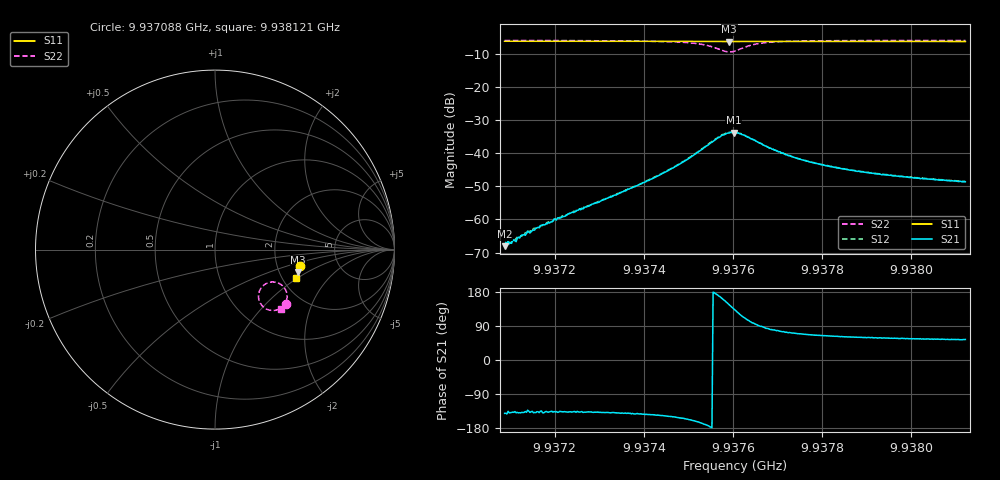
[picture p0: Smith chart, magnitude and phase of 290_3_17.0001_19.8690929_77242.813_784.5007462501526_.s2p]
#  HZ  S  RI  R  50.00
! Rohde & Schwarz Vector Network Analyzer
! Rohde-Schwarz,ZNB20-2Port,1311601062101988,3.16
! Created: UTC 3/20/2024, 11:05:04 PM
! freq[Hz]  re:S11  im:S11  re:S21  im:S21  re:S12  im:S12  re:S22  im:S22
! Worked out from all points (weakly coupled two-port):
!   401 points, 9.937088 GHz to 9.938121 GHz, reference 50 ohm
!   highest |S21| = -33.81 dB at 9.937602 GHz (marker M1); lowest = -68.1 dB at 9.937088 GHz (marker M2)
!   lowest |S11| = -6.4 dB at 9.937592 GHz (marker M3), VSWR 2.84, Z = 127 - j41.3 ohm
!   |S11| at or under -10 dB: nowhere
!   |S22| runs from -9.5 to -6.1 dB; largest |S21 - S12| = 0.00087
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9.937088e9  0.4752 -0.0934  -0.000306 -0.00025  -0.000312 -0.000259  0.3934 -0.3049
9.9371009e9  0.4749 -0.0942  -0.000336 -0.000289  -0.000343 -0.000272  0.3925 -0.3058
9.9371087e9  0.4749 -0.0948  -0.000366 -0.000328  -0.000364 -0.000312  0.3919 -0.3064
9.9371216e9  0.4746 -0.0956  -0.000397 -0.000345  -0.000387 -0.000355  0.3907 -0.3075
9.9371371e9  0.4744 -0.0968  -0.000458 -0.000413  -0.000454 -0.000415  0.3897 -0.3085
9.9371733e9  0.4739 -0.0992  -0.000628 -0.000538  -0.000601 -0.000541  0.3869 -0.3112
9.9372611e9  0.4721 -0.105  -0.00104 -0.00101  -0.00109 -0.000987  0.3784 -0.3186
9.9373695e9  0.4699 -0.1124  -0.00226 -0.00186  -0.00232 -0.0018  0.3628 -0.3288
9.9374341e9  0.4682 -0.1169  -0.00381 -0.00258  -0.00395 -0.0026  0.3461 -0.3358
9.9374858e9  0.467 -0.1204  -0.00642 -0.00318  -0.00659 -0.00314  0.3221 -0.3394
9.9375348e9  0.4653 -0.1236  -0.0118 -0.00217  -0.012 -0.00207  0.2785 -0.3265
9.937571e9  0.4636 -0.1254  -0.0171 0.00394  -0.0175 0.00463  0.2428 -0.2684
9.9375916e9  0.463 -0.1257  -0.0165 0.0114  -0.0166 0.0121  0.2586 -0.2113
9.937602e9  0.4631 -0.1261  -0.0143 0.0146  -0.014 0.0152  0.2828 -0.1904
9.9376046e9  0.4631 -0.1262  -0.0134 0.0152  -0.0131 0.0159  0.2899 -0.1869
9.937633e9  0.4633 -0.1277  -0.00457 0.0168  -0.00414 0.0171  0.3609 -0.1903
9.9376614e9  0.4634 -0.1298  0.000268 0.014  0.000445 0.0141  0.3925 -0.2226
9.9377053e9  0.4628 -0.133  0.00255 0.0102  0.0028 0.00989  0.4018 -0.2594
9.9377776e9  0.4612 -0.1381  0.00288 0.00658  0.00303 0.00659  0.3968 -0.2895
9.9378602e9  0.4593 -0.1437  0.00273 0.00484  0.00281 0.00489  0.3889 -0.3067
9.9379506e9  0.4571 -0.1496  0.00247 0.0039  0.00259 0.00389  0.3809 -0.3184
9.9381211e9  0.4525 -0.1606  0.00216 0.00299  0.00224 0.00296  0.3686 -0.3331
